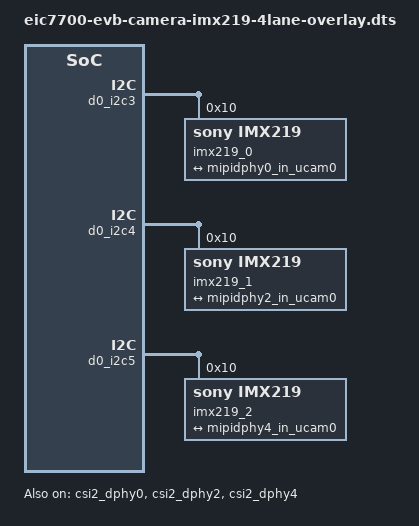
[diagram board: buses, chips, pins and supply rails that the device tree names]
/dts-v1/;
/plugin/;

/ {
	fragment@0 {
		target = <&vi_subsys>;
		__overlay__ {
			phy_mode = <2>;
		};
	};

	fragment@1 {
		target = <&mipidphy0_in_ucam0>;
		__overlay__ {
			remote-endpoint = <&imx219_out0>;
			data-lanes = <1 2 3 4>;
		};
	};

	fragment@2 {
		target = <&mipidphy2_in_ucam0>;
		__overlay__ {
			remote-endpoint = <&imx219_out1>;
			data-lanes = <1 2 3 4>;
		};
	};

	fragment@3 {
		target = <&mipidphy4_in_ucam0>;
		__overlay__ {
			remote-endpoint = <&imx219_out2>;
			data-lanes = <1 2 3 4>;
		};
	};

	fragment@4 {
		target = <&csi2_dphy0>;
		__overlay__ {
			status="okay";
		};
	};

	fragment@5 {
		target = <&csi2_dphy2>;
		__overlay__ {
			status="okay";
		};
	};

	fragment@6 {
		target = <&csi2_dphy4>;
		__overlay__ {
			status="okay";
		};
	};

	fragment@7 {
		target = <&d0_i2c3>;
		__overlay__ {
			#address-cells = <1>;
			#size-cells = <0>;
			imx219_0:imx219_0@10 {
				compatible = "sony,imx219";
				reg = <0x10>;
				clock-names="xvclk";
				clocks = <&d0_clock 0x244>;
				assigned-clocks = <&d0_clock 0x244>;
				assigned-clock-rates = <24000000>;
				power-domains = <&d0_pmu 2>;
				status = "okay";
				port {
					imx219_out0: endpoint {
						remote-endpoint = <&mipidphy0_in_ucam0>;
						data-lanes = <1 2 3 4>;
						link-frequencies = /bits/ 64 <364000000>;
					};
				};
			};
		};
	};

	fragment@8 {
		target = <&d0_i2c4>;
		__overlay__ {
			#address-cells = <1>;
			#size-cells = <0>;
			imx219_1: imx219_1@10 {
				compatible = "sony,imx219";
				status = "okay";
				address-cells = <1>;
				size-cells = <0>;
				reg = <0x10>;
				clocks = <&d0_clock 0x244>;
				assigned-clocks = <&d0_clock 0x244>;
				assigned-clock-rates = <24000000>;
				clock-names = "xvclk";
				power-domains = <&d0_pmu 2>;

				port {
					imx219_out1: endpoint {
						remote-endpoint = <&mipidphy2_in_ucam0>;
						data-lanes = <1 2 3 4>;
						link-frequencies = /bits/ 64 <364000000>;
					};
				};
			};
		};
	};

	fragment@9 {
		target = <&d0_i2c5>;
		__overlay__ {
			#address-cells = <1>;
			#size-cells = <0>;
			imx219_2: imx219@10 {
				compatible = "sony,imx219";
				status = "okay";
				address-cells = <1>;
				size-cells = <0>;
				reg = <0x10>;
				clocks = <&d0_clock 0x244>;
				assigned-clocks = <&d0_clock 0x244>;
				assigned-clock-rates = <24000000>;
				clock-names = "xvclk";
				power-domains = <&d0_pmu 2>;

				port {
					imx219_out2: endpoint {
						remote-endpoint = <&mipidphy4_in_ucam0>;
						data-lanes = <1 2 3 4>;
						link-frequencies = /bits/ 64 <364000000>;
					};
				};
			};
		};
	};

	fragment@10 {
		target = <&mipi_csi2_0>;
		__overlay__ {
			num_lanes = <4>;
		};
	};

	fragment@11 {
		target = <&mipi_csi2_2>;
		__overlay__ {
			num_lanes = <4>;
		};
	};

	fragment@12 {
		target = <&mipi_csi2_4>;
		__overlay__ {
			num_lanes = <4>;
		};
	};

	fragment@13 {
		target = <&csi2_dphy_hw0>;
		__overlay__ {
			lanes = <1 2 3 4>;
			lanes-dp-dn = <0 0 0 0>;
		};
	};

	fragment@14 {
		target = <&csi2_dphy_hw2>;
		__overlay__ {
			lanes = <1 2 3 4>;
			lanes-dp-dn = <0 0 0 0>;
		};
	};

	fragment@15 {
		target = <&csi2_dphy_hw4>;
		__overlay__ {
			lanes = <1 2 3 4>;
			lanes-dp-dn = <0 0 0 0>;
		};
	};
};
